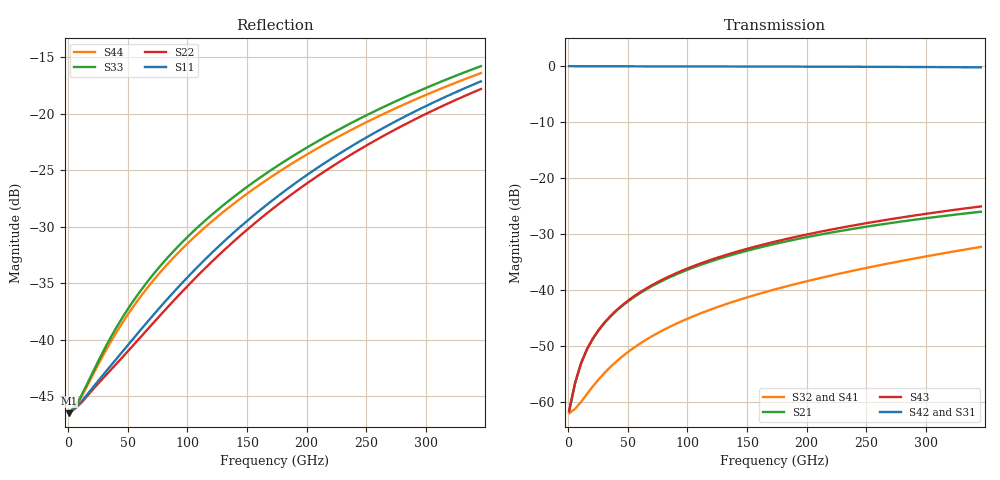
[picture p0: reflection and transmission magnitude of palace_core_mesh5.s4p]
#  GHZ S DB R 50
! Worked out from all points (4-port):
!   70 points, 1 GHz to 346 GHz, reference 50 ohm
!   strongest paths, dB at 1 GHz, 86 GHz, 176 GHz, 261 GHz, 346 GHz:
!     S42: 0.0, -0.1, -0.1, -0.2, -0.2
!     S31: 0.0, -0.1, -0.1, -0.2, -0.3
!     S43: -61.6, -37.5, -31.2, -27.7, -25.1
!     S21: -61.6, -37.7, -31.7, -28.3, -26.0
!     S32: -62.0, -46.5, -39.8, -35.6, -32.3
!     S41: -62.0, -46.5, -39.8, -35.7, -32.4
!   lowest |S11| = -46.5 dB at 1 GHz (marker M1), VSWR 1.01, Z = 50.5 + j0.00493 ohm
!   |S11| at or under -10 dB: start of sweep to end of sweep
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1  -46.47 0.6  -61.63 14.3  -0.04 -0.2  -62.03 178.0
   -61.63 14.3  -46.49 0.6  -62.03 178.0  -0.04 -0.2
   -0.04 -0.2  -62.03 178.0  -46.47 0.6  -61.62 14.7
   -62.03 178.0  -0.04 -0.2  -61.62 14.7  -46.48 0.6
11  -45.50 -12.1  -53.13 58.7  -0.05 -1.6  -60.00 159.1
    -53.13 58.7  -45.59 -10.5  -59.99 159.1  -0.05 -1.6
    -0.05 -1.6  -59.99 159.1  -44.98 -11.7  -53.05 61.4
    -60.00 159.1  -0.05 -1.6  -53.05 61.4  -45.10 -10.2
26  -43.54 -35.2  -47.15 66.4  -0.06 -3.6  -55.92 132.9
    -47.15 66.4  -43.78 -32.2  -55.91 132.9  -0.06 -3.6
    -0.06 -3.6  -55.91 132.9  -41.75 -29.5  -47.04 72.5
    -55.92 132.9  -0.06 -3.6  -47.04 72.5  -42.05 -27.3
51  -40.36 -69.6  -41.95 66.7  -0.07 -7.0  -50.99 109.5
    -41.95 66.7  -40.91 -66.4  -50.97 109.7  -0.07 -6.9
    -0.07 -7.0  -50.97 109.7  -37.15 -46.0  -41.79 78.3
    -50.99 109.5  -0.07 -6.9  -41.79 78.3  -37.63 -44.0
81  -36.66 -99.4  -38.17 62.5  -0.08 -11.0  -47.06 94.9
    -38.17 62.5  -37.40 -96.9  -47.04 95.1  -0.08 -10.9
    -0.08 -11.0  -47.04 95.1  -33.02 -53.7  -37.96 80.6
    -47.06 94.9  -0.08 -10.9  -37.96 80.6  -33.58 -52.2
196  -25.73 -159.5  -30.75 37.1  -0.13 -26.6  -38.71 63.0
     -30.75 37.1  -26.48 -158.7  -38.66 63.5  -0.13 -26.3
     -0.13 -26.6  -38.66 63.5  -23.26 -62.1  -30.29 80.5
     -38.71 63.0  -0.13 -26.3  -30.29 80.5  -23.87 -61.5
346  -17.14 160.2  -26.03 -1.6  -0.26 -47.3  -32.39 28.5
     -26.03 -1.6  -17.82 161.1  -32.31 29.0  -0.25 -46.8
     -0.26 -47.3  -32.31 29.0  -15.80 -72.9  -25.08 74.9
     -32.39 28.5  -0.25 -46.8  -25.08 74.9  -16.41 -72.6
